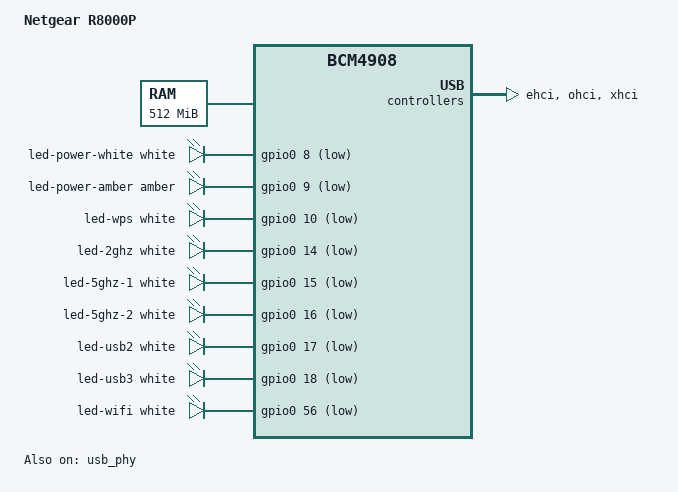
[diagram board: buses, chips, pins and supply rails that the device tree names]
// SPDX-License-Identifier: GPL-2.0-or-later OR MIT

#include <dt-bindings/gpio/gpio.h>
#include <dt-bindings/input/input.h>
#include <dt-bindings/leds/common.h>

#include "bcm4906.dtsi"

/ {
	compatible = "netgear,r8000p", "brcm,bcm4906", "brcm,bcm4908", "brcm,bcmbca";
	model = "Netgear R8000P";

	memory@0 {
		device_type = "memory";
		reg = <0x00 0x00 0x00 0x20000000>;
	};

	leds {
		compatible = "gpio-leds";

		led-power-white {
			function = LED_FUNCTION_POWER;
			color = <LED_COLOR_ID_WHITE>;
			gpios = <&gpio0 8 GPIO_ACTIVE_LOW>;
		};

		led-power-amber {
			function = LED_FUNCTION_POWER;
			color = <LED_COLOR_ID_AMBER>;
			gpios = <&gpio0 9 GPIO_ACTIVE_LOW>;
		};

		led-wps {
			function = LED_FUNCTION_WPS;
			color = <LED_COLOR_ID_WHITE>;
			gpios = <&gpio0 10 GPIO_ACTIVE_LOW>;
		};

		led-2ghz {
			function = "2ghz";
			color = <LED_COLOR_ID_WHITE>;
			gpios = <&gpio0 14 GPIO_ACTIVE_LOW>;
		};

		led-5ghz-1 {
			function = "5ghz-1";
			color = <LED_COLOR_ID_WHITE>;
			gpios = <&gpio0 15 GPIO_ACTIVE_LOW>;
		};

		led-5ghz-2 {
			function = "5ghz-2";
			color = <LED_COLOR_ID_WHITE>;
			gpios = <&gpio0 16 GPIO_ACTIVE_LOW>;
		};

		led-usb2 {
			function = "usb2";
			color = <LED_COLOR_ID_WHITE>;
			gpios = <&gpio0 17 GPIO_ACTIVE_LOW>;
			trigger-sources = <&ohci_port1>, <&ehci_port1>;
			linux,default-trigger = "usbport";
		};

		led-usb3 {
			function = "usb3";
			color = <LED_COLOR_ID_WHITE>;
			gpios = <&gpio0 18 GPIO_ACTIVE_LOW>;
			trigger-sources = <&ohci_port2>, <&ehci_port2>, <&xhci_port2>;
			linux,default-trigger = "usbport";
		};

		led-wifi {
			function = "wifi";
			color = <LED_COLOR_ID_WHITE>;
			gpios = <&gpio0 56 GPIO_ACTIVE_LOW>;
		};
	};
};

&enet {
	nvmem-cells = <&base_mac_addr>;
	nvmem-cell-names = "mac-address";
};

&usb_phy {
	brcm,ioc = <1>;
	status = "okay";
};

&ehci {
	status = "okay";
};

&ohci {
	status = "okay";
};

&xhci {
	status = "okay";
};

&ports {
	port@0 {
		label = "lan4";
	};

	port@1 {
		label = "lan3";
	};

	port@2 {
		label = "lan2";
	};

	port@3 {
		label = "lan1";
	};

	port@7 {
		reg = <7>;
		phy-mode = "internal";
		phy-handle = <&phy12>;
		label = "wan";
	};
};

&nandcs {
	nand-ecc-strength = <4>;
	nand-ecc-step-size = <512>;
	nand-on-flash-bbt;

	#address-cells = <1>;
	#size-cells = <0>;

	partitions {
		compatible = "fixed-partitions";
		#address-cells = <1>;
		#size-cells = <1>;

		partition@0 {
			compatible = "nvmem-cells";
			label = "cferom";
			reg = <0x0 0x100000>;

			#address-cells = <1>;
			#size-cells = <1>;
			ranges = <0 0x0 0x100000>;

			base_mac_addr: mac@106a0 {
				reg = <0x106a0 0x6>;
			};
		};

		partition@100000 {
			compatible = "brcm,bcm4908-firmware";
			label = "firmware";
			reg = <0x100000 0x4400000>;
		};
	};
};
